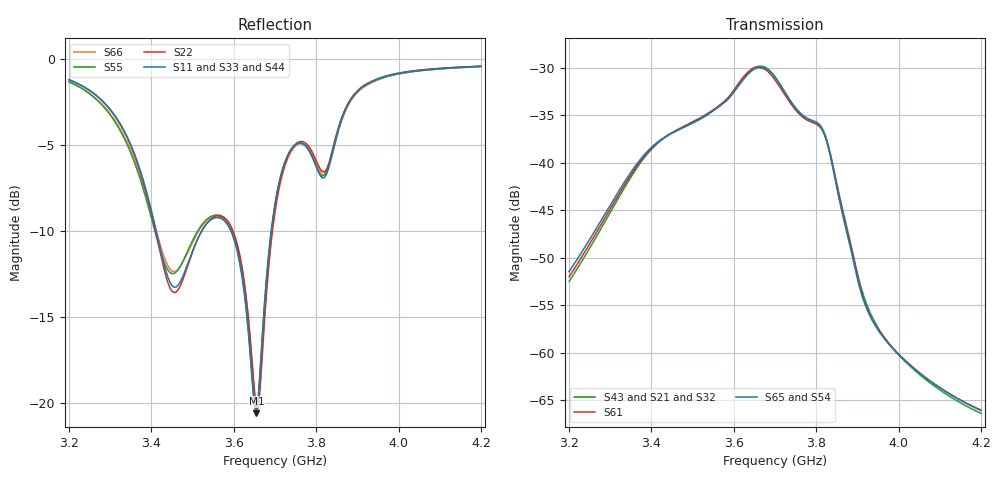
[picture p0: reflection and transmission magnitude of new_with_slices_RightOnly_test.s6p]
! Touchstone file exported from HFSS 2024.2.0
!  File:  D:/Jatin/new_with_slices.aedt
!  Generated:  04:24:36 PM Oct  4, 2026
!  Design:  RightOnly_test
!  Project:  new_with_slices
!  Setup:  Setup1
!  Solution:  Sweep
! Variables:
!  $L = 85mm
!  $W = 35mm
!  H = 1.575mm
!  L = 42mm
!  W = 35mm
!  Wb = 6mm
!  a = 3.5mm
!  ant_dist = 115mm
!  ant_gap = 3mm
!  b = 5mm
!  c = 5mm
!  d = 2mm
!  e_S1 = 0mm
!  e_S2 = 0mm
!  e_S3 = 0mm
!  e_S4 = 0mm
!  e_S5 = 11.5mm
!  e_S6 = 7.5mm
!  g1 = 2mm
!  g2 = 2mm
!  g3 = 1mm
!  g4 = 2mm
!  gap = 10mm
!  r1 = 3.5mm
!  r2 = 6mm
!  r_brain = 95mm
!  r_brain_ad = 61.68mm
!  r_csf = 95.5mm
!  r_csf_expanded = 64.6mm
!  r_csf_inner = 61.68mm
!  r_csf_outer = 83.5mm
!  r_fat = 87.5mm
!  r_gray = 70.55mm
!  r_gray_healthy = 83mm
!  r_grey_healthy = 83mm
!  r_hip = 17.5mm
!  r_hippo_healthy = 25mm
!  r_skin = 88mm
!  r_skull = 86.5mm
!  r_white = 17.5mm
!  r_white_healthy = 76mm
!  slot_distance = 15mm
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# GHz S MA R 50.000000
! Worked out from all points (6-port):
!   201 points, 3.2 GHz to 4.2 GHz, reference 50 ohm
!   strongest paths, dB at 3.2 GHz, 3.45 GHz, 3.7 GHz, 3.95 GHz, 4.2 GHz:
!     S65: -51.4, -36.9, -31.0, -57.6, -66.1
!     S54: -51.9, -36.6, -31.2, -57.6, -66.4
!     S61: -52.0, -36.8, -31.3, -57.5, -66.0
!     S43: -52.5, -36.9, -30.9, -57.3, -66.4
!     S21: -52.6, -36.9, -31.2, -57.6, -66.4
!     S32: -52.6, -37.0, -31.1, -57.4, -66.4
!   lowest |S11| = -20.6 dB at 3.655 GHz (marker M1), VSWR 1.21, Z = 43.8 - j6.16 ohm
!   |S11| at or under -10 dB: 3.411 GHz to 3.522 GHz (110.9 MHz wide, 3.2 % of centre); 3.593 GHz to 3.691 GHz (97.82 MHz wide, 2.69 % of centre)
